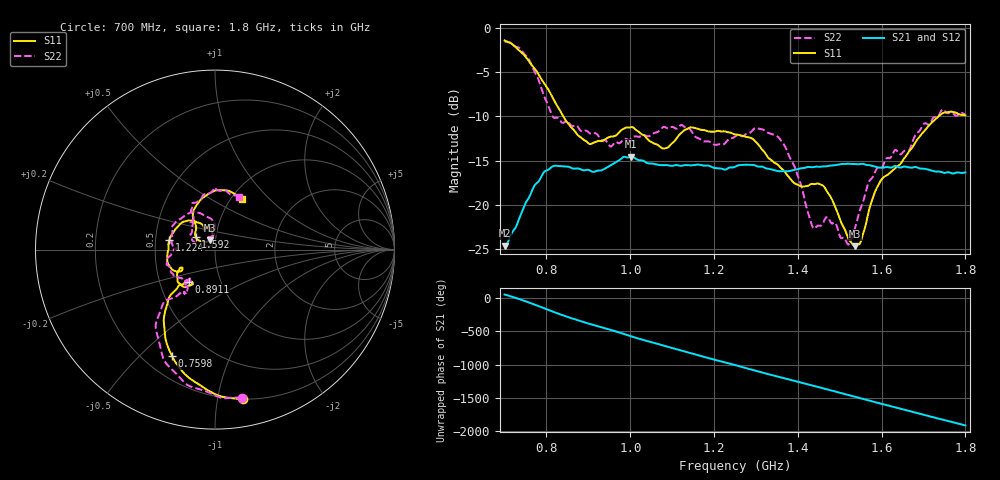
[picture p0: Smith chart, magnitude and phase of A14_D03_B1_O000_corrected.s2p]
! Created with skrf 1.9.0 (http://scikit-rf.org).
# Hz S RI R 50.0
!freq ReS11 ImS11 ReS21 ImS21 ReS12 ImS12 ReS22 ImS22
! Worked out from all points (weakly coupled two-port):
!   1601 points, 700 MHz to 1.8 GHz, reference 50 ohm
!   highest |S21| = -14.55 dB at 1.002 GHz (marker M1); lowest = -24.6 dB at 701.4 MHz (marker M2)
!   lowest |S11| = -24.7 dB at 1.536 GHz (marker M3), VSWR 1.12, Z = 47.2 + j4.94 ohm
!   |S11| at or under -10 dB: 839.6 MHz to 1.736 GHz (896 MHz wide, 69.6 % of centre)
!   |S22| runs from -24.5 to -1.5 dB; largest |S21 - S12| = 0.0035
!   S11 on the Smith chart (normalised r, x): 700 MHz: 0.20, -1.19; 759.8 MHz: 0.31, -0.63; 891.1 MHz: 0.70, -0.27; 1.224 GHz: 0.59, +0.07; 1.592 GHz: 0.80, +0.12; 1.8 GHz: 1.13, +0.71
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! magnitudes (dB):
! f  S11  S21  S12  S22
! 700 MHz  -1.4  -24.6  -24.4  -1.5
! 701.4 MHz  -1.5  -24.6  -24.3  -1.6
! 759.8 MHz  -3.9  -19.0  -18.9  -3.7
! 814.8 MHz  -7.9  -15.7  -15.7  -10.0
! 883.6 MHz  -12.4  -16.0  -15.9  -11.7
! 891.1 MHz  -12.7  -16.1  -16.1  -11.6
! 1.002 GHz  -11.2  -14.5  -14.7  -12.5
! 1.067 GHz  -13.3  -15.5  -15.4  -11.7
! 1.143 GHz  -11.3  -15.6  -15.5  -11.5
! 1.224 GHz  -11.7  -16.0  -16.0  -13.1
! 1.25 GHz  -12.1  -15.7  -15.6  -12.3
! 1.356 GHz  -15.7  -16.2  -16.1  -12.5
! 1.394 GHz  -17.6  -16.0  -16.0  -16.0
! 1.434 GHz  -17.6  -15.8  -15.7  -22.3
! 1.466 GHz  -18.2  -15.7  -15.6  -21.5
! 1.52 GHz  -23.8  -15.4  -15.4  -24.5
! 1.536 GHz  -24.7  -15.4  -15.4  -22.7
! 1.551 GHz  -24.0  -15.4  -15.4  -20.2
! 1.592 GHz  -17.8  -15.8  -15.8  -15.8
! 1.617 GHz  -16.5  -15.8  -15.7  -14.7
! 1.74 GHz  -9.9  -16.3  -16.3  -9.6
! 1.8 GHz  -9.9  -16.3  -16.3  -9.8
